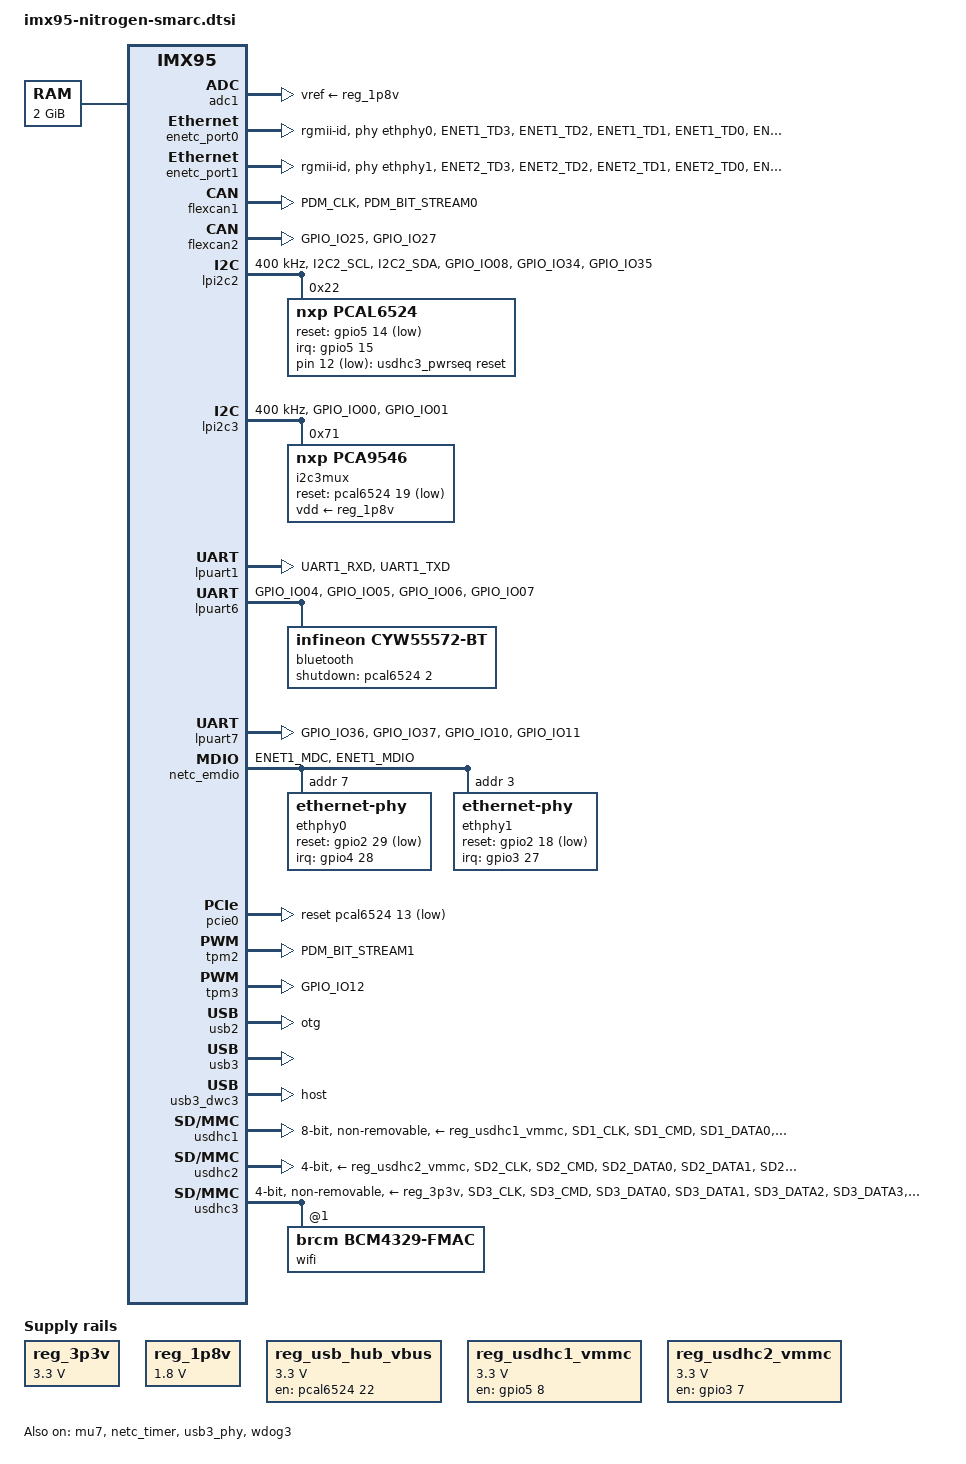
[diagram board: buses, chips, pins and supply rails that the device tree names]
// SPDX-License-Identifier: (GPL-2.0+ OR MIT)
/*
 * Copyright 2024 Ezurio LLC
 */

#include <dt-bindings/net/ti-dp83867.h>
#include <dt-bindings/phy/phy-imx8-pcie.h>
#include <dt-bindings/usb/pd.h>
#include "imx95.dtsi"

/ {
	chosen {
		bootargs = "console=ttyLP0,115200 earlycon";
		stdout-path = &lpuart1;
	};

	memory@80000000 {
		device_type = "memory";
		reg = <0x0 0x80000000 0 0x80000000>;
	};

	reserved-memory {
		#address-cells = <2>;
		#size-cells = <2>;
		ranges;

		linux_cma: linux,cma {
			compatible = "shared-dma-pool";
			reusable;
			size = <0 0x3c000000>;
			alloc-ranges = <0 0x80000000 0 0x7F000000>;
			linux,cma-default;
		};

		vpu_boot: vpu_boot@a0000000 {
			reg = <0 0xa0000000 0 0x100000>;
			no-map;
		};

		vdev0vring0: vdev0vring0@88000000 {
			reg = <0 0x88000000 0 0x8000>;
			no-map;
		};

		vdev0vring1: vdev0vring1@88008000 {
			reg = <0 0x88008000 0 0x8000>;
			no-map;
		};

		vdev1vring0: vdev1vring0@88010000 {
			reg = <0 0x88010000 0 0x8000>;
			no-map;
		};

		vdev1vring1: vdev1vring1@88018000 {
			reg = <0 0x88018000 0 0x8000>;
			no-map;
		};

		rsc_table: rsc-table@88220000 {
			reg = <0 0x88220000 0 0x1000>;
			no-map;
		};

		vdevbuffer: vdevbuffer@88020000 {
			compatible = "shared-dma-pool";
			reg = <0 0x88020000 0 0x100000>;
			no-map;
		};
	};

	reg_3p3v: regulator-3p3v {
		compatible = "regulator-fixed";
		regulator-max-microvolt = <3300000>;
		regulator-min-microvolt = <3300000>;
		regulator-name = "+V3.3_SW";
	};

	reg_1p8v: regulator-1p8v {
		compatible = "regulator-fixed";
		regulator-min-microvolt = <1800000>;
		regulator-max-microvolt = <1800000>;
		regulator-name = "+V1.8_SW";
	};

	reg_usb_hub_vbus: regulator-usb-hub-vbus {
		compatible = "regulator-fixed";
		regulator-name = "usb_hub_vbus";
		regulator-min-microvolt = <3300000>;
		regulator-max-microvolt = <3300000>;
		gpio = <&pcal6524 22 GPIO_ACTIVE_HIGH>;
		enable-active-high;
	};

	reg_usdhc1_vmmc: regulator-usdhc1 {
		compatible = "regulator-fixed";
		pinctrl-names = "default";
		pinctrl-0 = <&pinctrl_reg_usdhc1_vmmc>;
		regulator-name = "SD1_RST";
		regulator-min-microvolt = <3300000>;
		regulator-max-microvolt = <3300000>;
		gpio = <&gpio5 8 GPIO_ACTIVE_HIGH>;
		off-on-delay-us = <10000>;
		enable-active-high;
	};

	reg_usdhc2_vmmc: regulator-usdhc2 {
		compatible = "regulator-fixed";
		pinctrl-names = "default";
		pinctrl-0 = <&pinctrl_reg_usdhc2_vmmc>;
		regulator-name = "SD2_RST";
		regulator-min-microvolt = <3300000>;
		regulator-max-microvolt = <3300000>;
		gpio = <&gpio3 7 GPIO_ACTIVE_HIGH>;
		off-on-delay-us = <12000>;
		enable-active-high;
	};

	usdhc3_pwrseq: usdhc3-pwrseq {
		compatible = "mmc-pwrseq-simple";
		assigned-clocks = <&scmi_clk IMX95_CLK_CCMCKO4>;
		assigned-clock-parents = <&scmi_clk IMX95_CLK_32K>;
		assigned-clock-rates = <32768>;
		clocks = <&scmi_clk IMX95_CLK_CCMCKO4>;
		clock-names = "ext_clock";
		post-power-on-delay-ms = <110>;
		reset-gpios = <&pcal6524 12 GPIO_ACTIVE_LOW>;
		status = "okay";
	};

	cm7: imx95-cm7 {
		compatible = "fsl,imx95-cm7";
		mbox-names = "tx", "rx", "rxdb";
		mboxes = <&mu7 0 1
			  &mu7 1 1
			  &mu7 3 1>;
		memory-region = <&vdevbuffer>, <&vdev0vring0>, <&vdev0vring1>,
				<&vdev1vring0>, <&vdev1vring1>, <&rsc_table>;
		fsl,startup-delay-ms = <50>;
		status = "okay";
	};
};

&adc1 {
	vref-supply = <&reg_1p8v>;
	status = "okay";
};

&enetc_port0 {
	pinctrl-names = "default";
	pinctrl-0 = <&pinctrl_enetc0>;
	phy-handle = <&ethphy0>;
	phy-mode = "rgmii-id";
	status = "okay";
};

&enetc_port1 {
	pinctrl-names = "default";
	pinctrl-0 = <&pinctrl_enetc1>;
	phy-handle = <&ethphy1>;
	phy-mode = "rgmii-id";
	status = "okay";
};

&flexcan1 {
	pinctrl-names = "default";
	pinctrl-0 = <&pinctrl_flexcan1>;
};

&flexcan2 {
	pinctrl-names = "default";
	pinctrl-0 = <&pinctrl_flexcan2>;
};

&lpi2c2 {
	#address-cells = <1>;
	#size-cells = <0>;
	clock-frequency = <400000>;
	pinctrl-names = "default", "sleep";
	pinctrl-0 = <&pinctrl_lpi2c2>;
	pinctrl-1 = <&pinctrl_lpi2c2>;
	status = "okay";

	pcal6524: gpio@22 {
		compatible = "nxp,pcal6524";
		reg = <0x22>;
		gpio-controller;
		#gpio-cells = <2>;
		interrupt-controller;
		#interrupt-cells = <2>;
		interrupts-extended = <&gpio5 15 IRQ_TYPE_LEVEL_LOW>;
		reset-gpios = <&gpio5 14 GPIO_ACTIVE_LOW>;
	};
};

&lpi2c3 {
	#address-cells = <1>;
	#size-cells = <0>;
	clock-frequency = <400000>;
	pinctrl-names = "default", "sleep";
	pinctrl-0 = <&pinctrl_lpi2c3>;
	pinctrl-1 = <&pinctrl_lpi2c3>;
	status = "okay";

	i2c3mux@71 {
		pinctrl-names = "default";
		compatible = "nxp,pca9546";
		reg = <0x71>;
		vdd-supply = <&reg_1p8v>;
		reset-gpios = <&pcal6524 19 GPIO_ACTIVE_LOW>;
		#address-cells = <1>;
		#size-cells = <0>;

		i2c_csi0: i2c3mux@0 {
			clock-frequency = <100000>;
			reg = <0>;
			#address-cells = <1>;
			#size-cells = <0>;
		};

		i2c_csi1: i2c3mux@1 {
			clock-frequency = <100000>;
			reg = <1>;
			#address-cells = <1>;
			#size-cells = <0>;
		};

		i2c_gp: i2c3mux@2 {
			clock-frequency = <100000>;
			reg = <2>;
			#address-cells = <1>;
			#size-cells = <0>;
		};

		i2c_pmic: i2c3mux@3 {
			clock-frequency = <100000>;
			reg = <3>;
			#address-cells = <1>;
			#size-cells = <0>;
		};
	};
};

&lpuart1 { /* SER1 (console) */
	pinctrl-names = "default";
	pinctrl-0 = <&pinctrl_uart1>;
	status = "okay";
};

&lpuart6 { /* Bluetooth */
	pinctrl-names = "default";
	pinctrl-0 = <&pinctrl_uart6>;
	uart-has-rtscts;
	status = "okay";

	bluetooth {
		shutdown-gpios = <&pcal6524 2 GPIO_ACTIVE_HIGH>;
		compatible = "infineon,cyw55572-bt";
		brcm,requires-autobaud-mode;
		max-speed = <921600>;
	};
};

&lpuart7 { /* SER0 */
	pinctrl-names = "default";
	pinctrl-0 = <&pinctrl_uart7>;
	uart-has-rtscts;
	status = "okay";
};

&mu7 {
	status = "okay";
};

&netc_timer {
	status = "okay";
};

&netc_prb_ierb {
	netc-interfaces = <NXP_NETC_RGMII
			   NXP_NETC_RGMII
			   NXP_NETC_SERIAL>;
};

&netc_emdio {
	pinctrl-names = "default";
	pinctrl-0 = <&pinctrl_emdio>;
	status = "okay";

	ethphy0: ethernet-phy@7 {
		reg = <7>;
		interrupts-extended = <&gpio4 28 IRQ_TYPE_LEVEL_LOW>;
		reset-gpios = <&gpio2 29 GPIO_ACTIVE_LOW>;
		reset-assert-us = <25>;
		reset-deassert-us = <60000>;
		ti,rx-internal-delay = <DP83867_RGMIIDCTL_2_25_NS>;
		ti,tx-internal-delay = <DP83867_RGMIIDCTL_2_00_NS>;
		ti,fifo-depth = <DP83867_PHYCR_FIFO_DEPTH_4_B_NIB>;
		ti,clk-output-sel = <DP83867_CLK_O_SEL_OFF>;
	};

	ethphy1: ethernet-phy@3 {
		reg = <3>;
		interrupts-extended = <&gpio3 27 IRQ_TYPE_LEVEL_LOW>;
		reset-gpios = <&gpio2 18 GPIO_ACTIVE_LOW>;
		reset-assert-us = <25>;
		reset-deassert-us = <60000>;
		ti,rx-internal-delay = <DP83867_RGMIIDCTL_2_25_NS>;
		ti,tx-internal-delay = <DP83867_RGMIIDCTL_2_00_NS>;
		ti,fifo-depth = <DP83867_PHYCR_FIFO_DEPTH_4_B_NIB>;
		ti,clk-output-sel = <DP83867_CLK_O_SEL_OFF>;
	};
};

&pcie_4ca00000 {
	msi-map = <0x0 &its 0x60 0x1>,	//ENETC0 PF
		  <0x10 &its 0x61 0x1>, //ENETC0 VF0
		  <0x20 &its 0x62 0x1>, //ENETC0 VF1
		  <0x40 &its 0x63 0x1>, //ENETC1 PF
		  <0x50 &its 0x65 0x1>, //ENETC1 VF0
		  <0x60 &its 0x66 0x1>, //ENETC1 VF1
		  <0x80 &its 0x64 0x1>, //ENETC2 PF
		  <0xc0 &its 0x67 0x1>; //NETC Timer
};

&pcie0 {
	fsl,refclk-pad-mode = <IMX8_PCIE_REFCLK_PAD_OUTPUT>;
	reset-gpio = <&pcal6524 13 GPIO_ACTIVE_LOW>;
	status = "okay";
};

&pcie1 {
	fsl,refclk-pad-mode = <IMX8_PCIE_REFCLK_PAD_INPUT>;
	reset-gpio = <&pcal6524 14 GPIO_ACTIVE_LOW>;
	status = "disabled";
};

&thermal_zones {
	pf09 {
		polling-delay-passive = <250>;
		polling-delay = <2000>;
		thermal-sensors = <&scmi_sensor 2>;
		trips {
			pf09_alert: trip0 {
				temperature = <140000>;
				hysteresis = <2000>;
				type = "passive";
			};

			pf09_crit: trip1 {
				temperature = <155000>;
				hysteresis = <2000>;
				type = "critical";
			};
		};
	};

	pf53_arm {
		polling-delay-passive = <250>;
		polling-delay = <2000>;
		thermal-sensors = <&scmi_sensor 4>;
		trips {
			pf5301_alert: trip0 {
				temperature = <140000>;
				hysteresis = <2000>;
				type = "passive";
			};

			pf5301_crit: trip1 {
				temperature = <155000>;
				hysteresis = <2000>;
				type = "critical";
			};
		};

		cooling-maps {
			map0 {
				trip = <&pf5301_alert>;
				cooling-device =
					<&A55_0 THERMAL_NO_LIMIT THERMAL_NO_LIMIT>,
					<&A55_1 THERMAL_NO_LIMIT THERMAL_NO_LIMIT>,
					<&A55_2 THERMAL_NO_LIMIT THERMAL_NO_LIMIT>,
					<&A55_3 THERMAL_NO_LIMIT THERMAL_NO_LIMIT>,
					<&A55_4 THERMAL_NO_LIMIT THERMAL_NO_LIMIT>,
					<&A55_5 THERMAL_NO_LIMIT THERMAL_NO_LIMIT>;
			};
		};
	};

	pf53_soc {
		polling-delay-passive = <250>;
		polling-delay = <2000>;
		thermal-sensors = <&scmi_sensor 3>;
		trips {
			pf5302_alert: trip0 {
				temperature = <140000>;
				hysteresis = <2000>;
				type = "passive";
			};

			pf5302_crit: trip1 {
				temperature = <155000>;
				hysteresis = <2000>;
				type = "critical";
			};
		};
	};
};

&tpm2 {
	pinctrl-names = "default";
	pinctrl-0 = <&pinctrl_tpm2>;
};

&tpm3 {
	pinctrl-names = "default";
	pinctrl-0 = <&pinctrl_tpm3>;
};

&usb2 {
	dr_mode = "otg";
	disable-over-current;
	usb-role-switch;
	status = "okay";
};

&usb3 {
	status = "okay";
};

&usb3_phy {
	status = "okay";
	vbus-supply = <&reg_usb_hub_vbus>;
};

&usb3_dwc3 {
	dr_mode = "host";
	hnp-disable;
	srp-disable;
	adp-disable;
	snps,dis-u1-entry-quirk;
	snps,dis-u2-entry-quirk;
	status = "okay";
};

&usdhc1 {
	pinctrl-names = "default", "state_100mhz", "state_200mhz";
	pinctrl-0 = <&pinctrl_usdhc1>;
	pinctrl-1 = <&pinctrl_usdhc1_100mhz>;
	pinctrl-2 = <&pinctrl_usdhc1_200mhz>;
	bus-width = <8>;
	non-removable;
	no-sdio;
	no-sd;
	vmmc-supply = <&reg_usdhc1_vmmc>;
	status = "okay";
};

&usdhc2 {
	pinctrl-names = "default", "state_100mhz", "state_200mhz";
	pinctrl-0 = <&pinctrl_usdhc2>, <&pinctrl_usdhc2_gpio>;
	pinctrl-1 = <&pinctrl_usdhc2_100mhz>, <&pinctrl_usdhc2_gpio>;
	pinctrl-2 = <&pinctrl_usdhc2_200mhz>, <&pinctrl_usdhc2_gpio>;
	cd-gpios = <&gpio3 00 GPIO_ACTIVE_LOW>;
	vmmc-supply = <&reg_usdhc2_vmmc>;
	bus-width = <4>;
	status = "okay";
};

&usdhc3 {
	pinctrl-names = "default", "state_100mhz", "state_200mhz";
	pinctrl-0 = <&pinctrl_usdhc3>, <&pinctrl_usdhc3_gpio>;
	pinctrl-1 = <&pinctrl_usdhc3_100mhz>, <&pinctrl_usdhc3_gpio>;
	pinctrl-2 = <&pinctrl_usdhc3_200mhz>, <&pinctrl_usdhc3_gpio>;
	bus-width = <4>;
	fsl,sdio-async-interrupt-enabled;
	keep-power-in-suspend;
	mmc-pwrseq = <&usdhc3_pwrseq>;
	non-removable;
	pm-ignore-notify;
	vmmc-supply = <&reg_3p3v>;
	vqmmc-supply = <&reg_1p8v>;
	wakeup-source;
	status = "okay";
	#address-cells = <1>;
	#size-cells = <0>;

	wifi@1 {
		reg = <1>;
		compatible = "brcm,bcm4329-fmac";
		laird,regdomain = "US";
	};
};

&vpuctrl {
	boot = <&vpu_boot>;
	sram = <&sram1>;
};

&wdog3 {
	status = "okay";
};

&scmi_iomuxc {
	pinctrl_emdio: emdiogrp {
		fsl,pins = <
			IMX95_PAD_ENET1_MDC__NETCMIX_TOP_NETC_MDC		0x57e
			IMX95_PAD_ENET1_MDIO__NETCMIX_TOP_NETC_MDIO		0x97e
		>;
	};

	pinctrl_enetc0: enetc0grp {
		fsl,pins = <
			IMX95_PAD_ENET1_TD3__NETCMIX_TOP_ETH0_RGMII_TD3		0x57e
			IMX95_PAD_ENET1_TD2__NETCMIX_TOP_ETH0_RGMII_TD2		0x57e
			IMX95_PAD_ENET1_TD1__NETCMIX_TOP_ETH0_RGMII_TD1		0x57e
			IMX95_PAD_ENET1_TD0__NETCMIX_TOP_ETH0_RGMII_TD0		0x57e
			IMX95_PAD_ENET1_TX_CTL__NETCMIX_TOP_ETH0_RGMII_TX_CTL	0x57e
			IMX95_PAD_ENET1_TXC__NETCMIX_TOP_ETH0_RGMII_TX_CLK	0x58e
			IMX95_PAD_ENET1_RX_CTL__NETCMIX_TOP_ETH0_RGMII_RX_CTL	0x57e
			IMX95_PAD_ENET1_RXC__NETCMIX_TOP_ETH0_RGMII_RX_CLK	0x58e
			IMX95_PAD_ENET1_RD0__NETCMIX_TOP_ETH0_RGMII_RD0		0x57e
			IMX95_PAD_ENET1_RD1__NETCMIX_TOP_ETH0_RGMII_RD1		0x57e
			IMX95_PAD_ENET1_RD2__NETCMIX_TOP_ETH0_RGMII_RD2		0x57e
			IMX95_PAD_ENET1_RD3__NETCMIX_TOP_ETH0_RGMII_RD3		0x57e
			IMX95_PAD_GPIO_IO29__GPIO2_IO_BIT29			0x31e
			IMX95_PAD_CCM_CLKO3__GPIO4_IO_BIT28			0x31e
		>;
	};

	pinctrl_enetc1: enetc1grp {
		fsl,pins = <
			IMX95_PAD_ENET2_TD3__NETCMIX_TOP_ETH1_RGMII_TD3		0x57e
			IMX95_PAD_ENET2_TD2__NETCMIX_TOP_ETH1_RGMII_TD2		0x57e
			IMX95_PAD_ENET2_TD1__NETCMIX_TOP_ETH1_RGMII_TD1		0x57e
			IMX95_PAD_ENET2_TD0__NETCMIX_TOP_ETH1_RGMII_TD0		0x57e
			IMX95_PAD_ENET2_TX_CTL__NETCMIX_TOP_ETH1_RGMII_TX_CTL	0x57e
			IMX95_PAD_ENET2_TXC__NETCMIX_TOP_ETH1_RGMII_TX_CLK	0x58e
			IMX95_PAD_ENET2_RX_CTL__NETCMIX_TOP_ETH1_RGMII_RX_CTL	0x57e
			IMX95_PAD_ENET2_RXC__NETCMIX_TOP_ETH1_RGMII_RX_CLK	0x58e
			IMX95_PAD_ENET2_RD0__NETCMIX_TOP_ETH1_RGMII_RD0		0x57e
			IMX95_PAD_ENET2_RD1__NETCMIX_TOP_ETH1_RGMII_RD1		0x57e
			IMX95_PAD_ENET2_RD2__NETCMIX_TOP_ETH1_RGMII_RD2		0x57e
			IMX95_PAD_ENET2_RD3__NETCMIX_TOP_ETH1_RGMII_RD3		0x57e
			IMX95_PAD_GPIO_IO18__GPIO2_IO_BIT18			0x31e
			IMX95_PAD_CCM_CLKO2__GPIO3_IO_BIT27			0x31e
		>;
	};

	pinctrl_flexcan1: flexcan1grp {
		fsl,pins = <
			IMX95_PAD_PDM_CLK__AONMIX_TOP_CAN1_TX		0x39e
			IMX95_PAD_PDM_BIT_STREAM0__AONMIX_TOP_CAN1_RX	0x39e
		>;
	};

	pinctrl_flexcan2: flexcan2grp {
		fsl,pins = <
			IMX95_PAD_GPIO_IO25__CAN2_TX			0x39e
			IMX95_PAD_GPIO_IO27__CAN2_RX			0x39e
		>;
	};

	pinctrl_lpi2c2: lpi2c2grp {
		fsl,pins = <
			IMX95_PAD_I2C2_SCL__AONMIX_TOP_LPI2C2_SCL	0x40000b9e
			IMX95_PAD_I2C2_SDA__AONMIX_TOP_LPI2C2_SDA	0x40000b9e
			IMX95_PAD_GPIO_IO08__GPIO2_IO_BIT8		0x31e
			IMX95_PAD_GPIO_IO34__GPIO5_IO_BIT14		0x31e
			IMX95_PAD_GPIO_IO35__GPIO5_IO_BIT15		0x31e
		>;
	};

	pinctrl_lpi2c3: lpi2c3grp {
		fsl,pins = <
			IMX95_PAD_GPIO_IO00__LPI2C3_SDA			0x40000b9e
			IMX95_PAD_GPIO_IO01__LPI2C3_SCL			0x40000b9e
		>;
	};

	pinctrl_reg_usdhc1_vmmc: regusdhc1vmmcgrp {
		fsl,pins = <
			IMX95_PAD_XSPI1_DQS__GPIO5_IO_BIT8			0x31e
		>;
	};

	pinctrl_reg_usdhc2_vmmc: regusdhc2vmmcgrp {
		fsl,pins = <
			IMX95_PAD_SD2_RESET_B__GPIO3_IO_BIT7			0x31e
		>;
	};

	pinctrl_sai3: sai3grp {
		fsl,pins = <
			IMX95_PAD_GPIO_IO17__SAI3_MCLK				0x31e
			IMX95_PAD_GPIO_IO16__SAI3_TX_BCLK			0x31e
			IMX95_PAD_GPIO_IO26__SAI3_TX_SYNC			0x31e
			IMX95_PAD_GPIO_IO20__SAI3_RX_DATA_BIT0			0x31e
			IMX95_PAD_GPIO_IO21__SAI3_TX_DATA_BIT0			0x31e
		>;
	};

	pinctrl_tpm2: tpm2grp {
		fsl,pins = <
			IMX95_PAD_PDM_BIT_STREAM1__AONMIX_TOP_TPM2_EXTCLK	0x31e
		>;
	};

	pinctrl_tpm3: tpm3grp {
		fsl,pins = <
			IMX95_PAD_GPIO_IO12__TPM3_CH2			0x31e
		>;
	};

	pinctrl_uart1: uart1grp {
		fsl,pins = <
			IMX95_PAD_UART1_RXD__AONMIX_TOP_LPUART1_RX      0x31e
			IMX95_PAD_UART1_TXD__AONMIX_TOP_LPUART1_TX      0x31e
		>;
	};

	pinctrl_uart6: uart6grp {
		fsl,pins = <
			IMX95_PAD_GPIO_IO04__LPUART6_TX			0x31e
			IMX95_PAD_GPIO_IO05__LPUART6_RX			0x31e
			IMX95_PAD_GPIO_IO06__LPUART6_CTS_B		0x31e
			IMX95_PAD_GPIO_IO07__LPUART6_RTS_B		0x31e
		>;
	};

	pinctrl_uart7: uart7grp {
		fsl,pins = <
			IMX95_PAD_GPIO_IO36__LPUART7_TX			0x31e
			IMX95_PAD_GPIO_IO37__LPUART7_RX			0x31e
			IMX95_PAD_GPIO_IO10__LPUART7_CTS_B		0x31e
			IMX95_PAD_GPIO_IO11__LPUART7_RTS_B		0x31e
		>;
	};

	pinctrl_usdhc1: usdhc1grp {
		fsl,pins = <
			IMX95_PAD_SD1_CLK__USDHC1_CLK				0x158e
			IMX95_PAD_SD1_CMD__USDHC1_CMD				0x138e
			IMX95_PAD_SD1_DATA0__USDHC1_DATA0			0x138e
			IMX95_PAD_SD1_DATA1__USDHC1_DATA1			0x138e
			IMX95_PAD_SD1_DATA2__USDHC1_DATA2			0x138e
			IMX95_PAD_SD1_DATA3__USDHC1_DATA3			0x138e
			IMX95_PAD_SD1_DATA4__USDHC1_DATA4			0x138e
			IMX95_PAD_SD1_DATA5__USDHC1_DATA5			0x138e
			IMX95_PAD_SD1_DATA6__USDHC1_DATA6			0x138e
			IMX95_PAD_SD1_DATA7__USDHC1_DATA7			0x138e
			IMX95_PAD_SD1_STROBE__USDHC1_STROBE			0x158e
		>;
	};

	pinctrl_usdhc1_100mhz: usdhc1-100mhzgrp {
		fsl,pins = <
			IMX95_PAD_SD1_CLK__USDHC1_CLK				0x158e
			IMX95_PAD_SD1_CMD__USDHC1_CMD				0x138e
			IMX95_PAD_SD1_DATA0__USDHC1_DATA0			0x138e
			IMX95_PAD_SD1_DATA1__USDHC1_DATA1			0x138e
			IMX95_PAD_SD1_DATA2__USDHC1_DATA2			0x138e
			IMX95_PAD_SD1_DATA3__USDHC1_DATA3			0x138e
			IMX95_PAD_SD1_DATA4__USDHC1_DATA4			0x138e
			IMX95_PAD_SD1_DATA5__USDHC1_DATA5			0x138e
			IMX95_PAD_SD1_DATA6__USDHC1_DATA6			0x138e
			IMX95_PAD_SD1_DATA7__USDHC1_DATA7			0x138e
			IMX95_PAD_SD1_STROBE__USDHC1_STROBE			0x158e
		>;
	};

	pinctrl_usdhc1_200mhz: usdhc1-200mhzgrp {
		fsl,pins = <
			IMX95_PAD_SD1_CLK__USDHC1_CLK				0x15fe
			IMX95_PAD_SD1_CMD__USDHC1_CMD				0x13fe
			IMX95_PAD_SD1_DATA0__USDHC1_DATA0			0x13fe
			IMX95_PAD_SD1_DATA1__USDHC1_DATA1			0x13fe
			IMX95_PAD_SD1_DATA2__USDHC1_DATA2			0x13fe
			IMX95_PAD_SD1_DATA3__USDHC1_DATA3			0x13fe
			IMX95_PAD_SD1_DATA4__USDHC1_DATA4			0x13fe
			IMX95_PAD_SD1_DATA5__USDHC1_DATA5			0x13fe
			IMX95_PAD_SD1_DATA6__USDHC1_DATA6			0x13fe
			IMX95_PAD_SD1_DATA7__USDHC1_DATA7			0x13fe
			IMX95_PAD_SD1_STROBE__USDHC1_STROBE			0x15fe
		>;
	};

	pinctrl_usdhc2_gpio: usdhc2gpiogrp {
		fsl,pins = <
			IMX95_PAD_SD2_CD_B__GPIO3_IO_BIT0			0x31e
		>;
	};

	pinctrl_usdhc2: usdhc2grp {
		fsl,pins = <
			IMX95_PAD_SD2_CLK__USDHC2_CLK				0x158e
			IMX95_PAD_SD2_CMD__USDHC2_CMD				0x138e
			IMX95_PAD_SD2_DATA0__USDHC2_DATA0			0x138e
			IMX95_PAD_SD2_DATA1__USDHC2_DATA1			0x138e
			IMX95_PAD_SD2_DATA2__USDHC2_DATA2			0x138e
			IMX95_PAD_SD2_DATA3__USDHC2_DATA3			0x138e
			IMX95_PAD_SD2_VSELECT__USDHC2_VSELECT			0x51e
		>;
	};

	pinctrl_usdhc2_100mhz: usdhc2-100mhzgrp {
		fsl,pins = <
			IMX95_PAD_SD2_CLK__USDHC2_CLK				0x158e
			IMX95_PAD_SD2_CMD__USDHC2_CMD				0x138e
			IMX95_PAD_SD2_DATA0__USDHC2_DATA0			0x138e
			IMX95_PAD_SD2_DATA1__USDHC2_DATA1			0x138e
			IMX95_PAD_SD2_DATA2__USDHC2_DATA2			0x138e
			IMX95_PAD_SD2_DATA3__USDHC2_DATA3			0x138e
			IMX95_PAD_SD2_VSELECT__USDHC2_VSELECT			0x51e
		>;
	};

	pinctrl_usdhc2_200mhz: usdhc2-200mhzgrp {
		fsl,pins = <
			IMX95_PAD_SD2_CLK__USDHC2_CLK				0x15fe
			IMX95_PAD_SD2_CMD__USDHC2_CMD				0x13fe
			IMX95_PAD_SD2_DATA0__USDHC2_DATA0			0x13fe
			IMX95_PAD_SD2_DATA1__USDHC2_DATA1			0x13fe
			IMX95_PAD_SD2_DATA2__USDHC2_DATA2			0x13fe
			IMX95_PAD_SD2_DATA3__USDHC2_DATA3			0x13fe
			IMX95_PAD_SD2_VSELECT__USDHC2_VSELECT			0x51e
		>;
	};

	pinctrl_usdhc3_gpio: usdhc3gpiogrp {
		fsl,pins = <
			IMX95_PAD_XSPI1_DATA5__GPIO5_IO_BIT5			0x31e
			IMX95_PAD_CCM_CLKO4__CCMSRCGPCMIX_TOP_CLKO_4		0x31e
		>;
	};

	pinctrl_usdhc3: usdhc3grp {
		fsl,pins = <
			IMX95_PAD_SD3_CLK__USDHC3_CLK				0x158e
			IMX95_PAD_SD3_CMD__USDHC3_CMD				0x138e
			IMX95_PAD_SD3_DATA0__USDHC3_DATA0			0x138e
			IMX95_PAD_SD3_DATA1__USDHC3_DATA1			0x138e
			IMX95_PAD_SD3_DATA2__USDHC3_DATA2			0x138e
			IMX95_PAD_SD3_DATA3__USDHC3_DATA3			0x138e
		>;
	};

	pinctrl_usdhc3_100mhz: usdhc3-100mhzgrp {
		fsl,pins = <
			IMX95_PAD_SD3_CLK__USDHC3_CLK				0x158e
			IMX95_PAD_SD3_CMD__USDHC3_CMD				0x138e
			IMX95_PAD_SD3_DATA0__USDHC3_DATA0			0x138e
			IMX95_PAD_SD3_DATA1__USDHC3_DATA1			0x138e
			IMX95_PAD_SD3_DATA2__USDHC3_DATA2			0x138e
			IMX95_PAD_SD3_DATA3__USDHC3_DATA3			0x138e
		>;
	};

	pinctrl_usdhc3_200mhz: usdhc3-200mhzgrp {
		fsl,pins = <
			IMX95_PAD_SD3_CLK__USDHC3_CLK				0x15fe
			IMX95_PAD_SD3_CMD__USDHC3_CMD				0x13fe
			IMX95_PAD_SD3_DATA0__USDHC3_DATA0			0x13fe
			IMX95_PAD_SD3_DATA1__USDHC3_DATA1			0x13fe
			IMX95_PAD_SD3_DATA2__USDHC3_DATA2			0x13fe
			IMX95_PAD_SD3_DATA3__USDHC3_DATA3			0x13fe
		>;
	};
};
